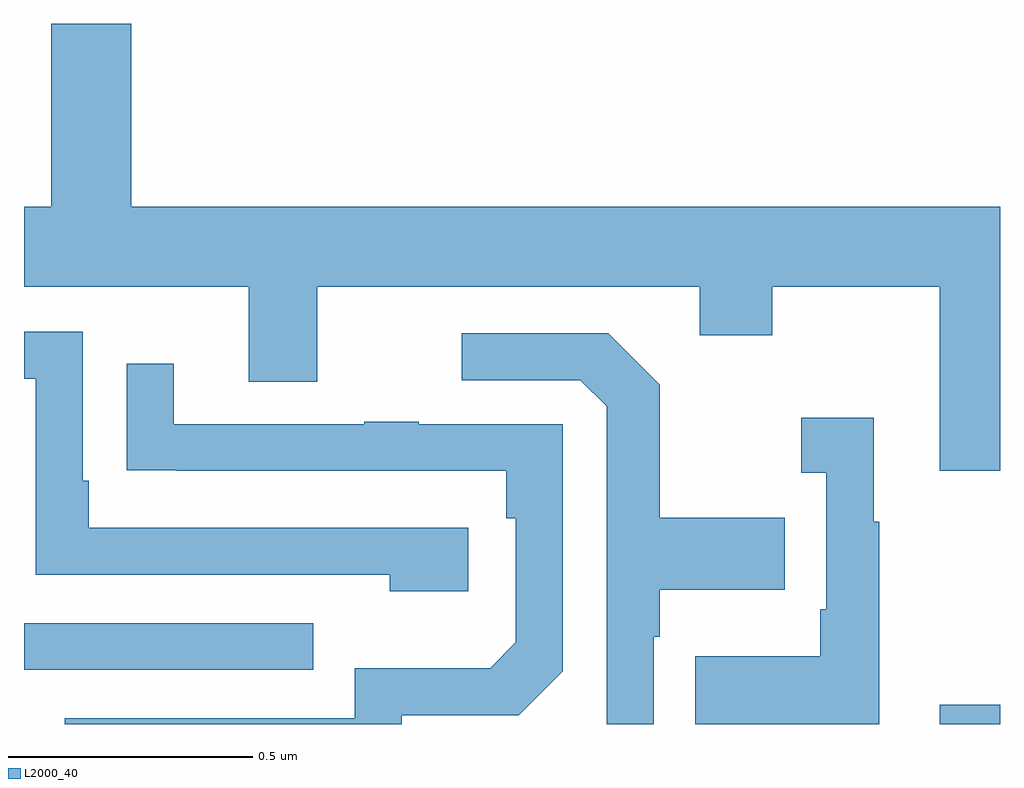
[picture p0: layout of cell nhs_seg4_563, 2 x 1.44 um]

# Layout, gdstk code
import gdstk
lib = gdstk.Library(unit=1e-6, precision=1e-09)
def R(c, l, rs):  # rectangles x0, y0, x1, y1
    for r in rs: c.add(gdstk.rectangle(r[:2], r[2:], *l))
def P(c, l, *ps):  # polygons
    for p in ps: c.add(gdstk.Polygon(p, *l))
L2000_40 = (2000, 40)

nhs_seg4_563 = lib.new_cell('nhs_seg4_563')
R(nhs_seg4_563, L2000_40, [(118.877,819.9,119,819.94), (117,820.011,117.593,820.107)])
P(nhs_seg4_563, L2000_40, [(119,820.96),(117.22,820.96),(117.22,821.335),(117.056,821.335),(117.056,820.96),(117,820.96),(117,820.796),(117.461,820.796),(117.461,820.602),(117.601,820.602),(117.601,820.796),(118.385,820.796),(118.385,820.697),(118.533,820.697),(118.533,820.796),(118.877,820.796),(118.877,820.419),(119,820.419)],
  [(117.91,820.302),(117.133,820.302),(117.133,820.399),(117.12,820.399),(117.12,820.704),(117,820.704),(117,820.608),(117.024,820.608),(117.024,820.206),(117.749,820.206),(117.749,820.172),(117.91,820.172)],
  [(118.29,820.079),(118.303,820.079),(118.303,820.175),(118.559,820.175),(118.559,820.323),(118.303,820.323),(118.303,820.595),(118.197,820.701),(117.897,820.701),(117.897,820.605),(118.14,820.605),(118.194,820.551),(118.194,819.9),(118.29,819.9)],
  [(117.774,819.918),(118.014,819.918),(118.104,820.008),(118.104,820.515),(117.809,820.515),(117.809,820.52),(117.697,820.52),(117.697,820.515),(117.307,820.515),(117.307,820.639),(117.211,820.639),(117.211,820.42),(117.313,820.42),(117.313,820.419),(117.988,820.419),(117.988,820.322),(118.008,820.322),(118.008,820.068),(117.955,820.015),(117.678,820.015),(117.678,819.912),(117.083,819.912),(117.083,819.9),(117.774,819.9)],
  [(118.753,820.315),(118.741,820.315),(118.741,820.528),(118.593,820.528),(118.593,820.415),(118.644,820.415),(118.644,820.135),(118.632,820.135),(118.632,820.039),(118.375,820.039),(118.375,819.9),(118.753,819.9)])

lib.write_gds('nhs_seg4_563.gds')
